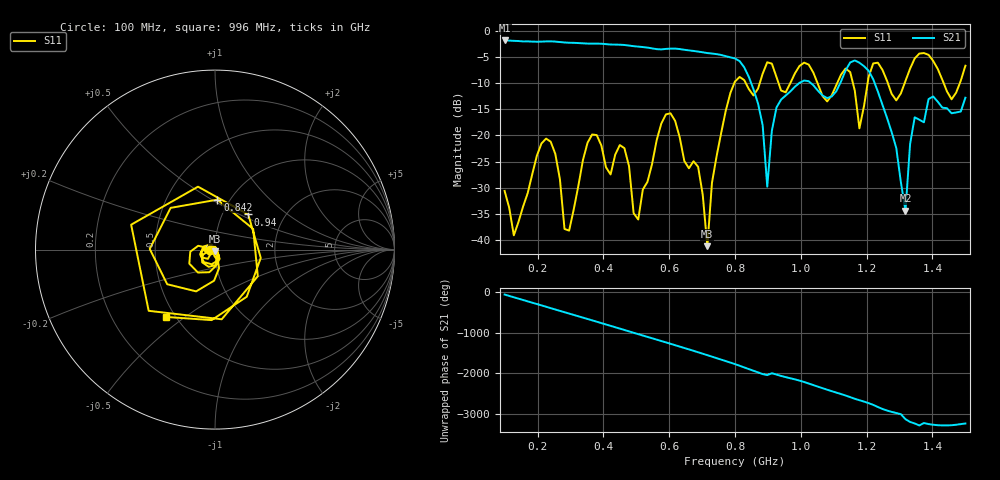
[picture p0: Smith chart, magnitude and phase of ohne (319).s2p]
! NanoVNA-App
! Date: 2025-09-25 14:23:17
! Start: 100MHz Stop: 1,5GHz Points: 101
! S-Parameter data: F S11 S21 S12 S22
# Hz S RI R 50
!  Frequency  S11_Real  S11_Imag  S21_Real  S21_Imag  S12_Real  S12_Imag  S22_Real  S22_Imag
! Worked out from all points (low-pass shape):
!   101 points, 100 MHz to 1.5 GHz, reference 50 ohm
!   highest |S21| = -1.79 dB at 100 MHz (marker M1); lowest = -34.4 dB at 1.318 GHz (marker M2)
!   |S21| within 3 dB of the highest: start of sweep to 771.4 MHz
!   lowest |S11| = -41.2 dB at 716 MHz (marker M3), VSWR 1.02, Z = 49.8 - j0.847 ohm
!   |S11| at or under -10 dB: start of sweep to 797.8 MHz; 833 MHz to 875 MHz (42.04 MHz wide, 4.92 % of centre); 1.051 GHz to 1.11 GHz (59.37 MHz wide, 5.49 % of centre) (the widest 3 of 7)
!   S12 and S22 are empty: the file has one direction only
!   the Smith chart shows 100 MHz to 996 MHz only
!   S11 on the Smith chart (normalised r, x): 100 MHz: 0.94, -0.01; 842 MHz: 0.88, +0.53; 940 MHz: 1.32, +0.56; 996 MHz: 0.45, -0.43
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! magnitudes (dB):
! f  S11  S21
! 100 MHz  -30.6  -1.8
! 128 MHz  -39.1  -1.9
! 226 MHz  -20.6  -2.0
! 296 MHz  -38.2  -2.2
! 338 MHz  -24.7  -2.3
! 464 MHz  -22.4  -2.7
! 506 MHz  -36.1  -3.0
! 576 MHz  -17.7  -3.5
! 688 MHz  -26.0  -3.9
! 716 MHz  -41.2  -4.2
! 800 MHz  -9.7  -5.2
! 842 MHz  -11.1  -8.8
! 898 MHz  -6.0  -29.8
! 940 MHz  -11.4  -13.1
! 996 MHz  -6.7  -9.9
! 1.038 GHz  -8.0  -10.4
! 1.178 GHz  -18.6  -6.1
! 1.22 GHz  -6.2  -9.2
! 1.276 GHz  -12.0  -19.4
! 1.318 GHz  -9.5  -34.4
! 1.346 GHz  -5.2  -16.5
! 1.5 GHz  -6.6  -12.8
